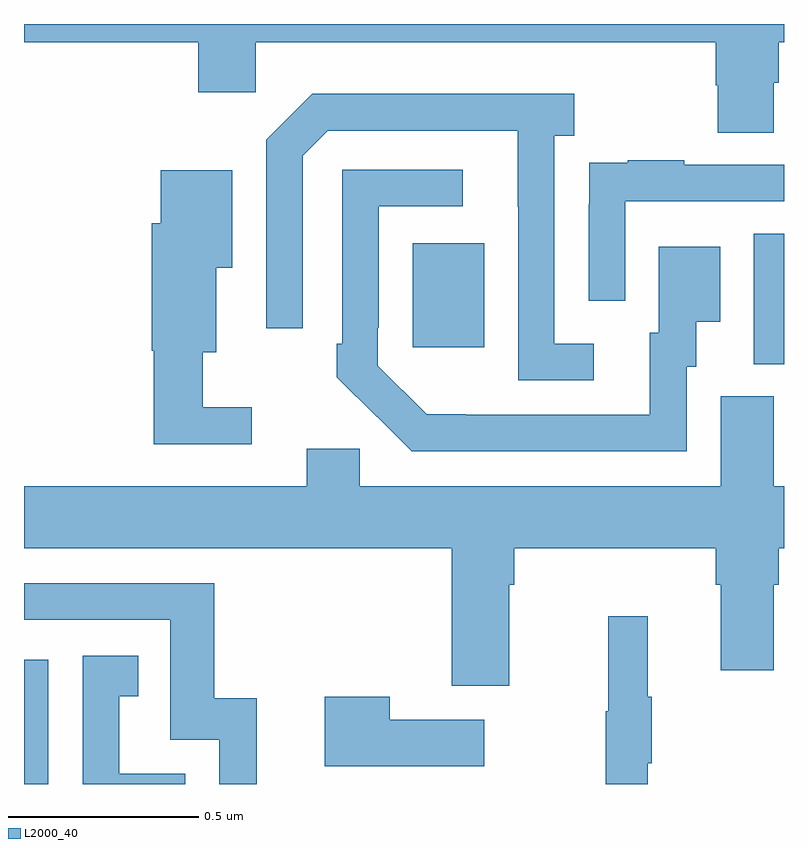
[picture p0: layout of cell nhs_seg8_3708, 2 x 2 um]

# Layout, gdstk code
import gdstk
lib = gdstk.Library(unit=1e-6, precision=1e-09)
def R(c, l, rs):  # rectangles x0, y0, x1, y1
    for r in rs: c.add(gdstk.rectangle(r[:2], r[2:], *l))
def P(c, l, *ps):  # polygons
    for p in ps: c.add(gdstk.Polygon(p, *l))
L2000_40 = (2000, 40)

nhs_seg8_3708 = lib.new_cell('nhs_seg8_3708')
R(nhs_seg8_3708, L2000_40, [(161,1095.9,161.064,1096.227), (162.92,1097.005,163,1097.348), (162.023,1097.049,162.211,1097.323)])
P(nhs_seg8_3708, L2000_40, [(162.973,1097.746),(162.986,1097.746),(162.986,1097.852),(163,1097.852),(163,1097.9),(161,1097.9),(161,1097.852),(161.459,1097.852),(161.459,1097.721),(161.61,1097.721),(161.61,1097.852),(162.821,1097.852),(162.821,1097.739),(162.826,1097.739),(162.826,1097.614),(162.973,1097.614)],
  [(162.499,1097.058),(162.396,1097.058),(162.396,1097.606),(162.448,1097.606),(162.448,1097.716),(161.758,1097.716),(161.637,1097.595),(161.637,1097.1),(161.733,1097.1),(161.733,1097.553),(161.799,1097.619),(162.299,1097.619),(162.299,1097.419),(162.3,1097.419),(162.3,1096.962),(162.499,1096.962)],
  [(162.582,1097.433),(163,1097.433),(163,1097.529),(162.737,1097.529),(162.737,1097.542),(162.589,1097.542),(162.589,1097.535),(162.487,1097.535),(162.487,1097.426),(162.486,1097.426),(162.486,1097.172),(162.582,1097.172)],
  [(162.744,1096.998),(162.769,1096.998),(162.769,1097.117),(162.832,1097.117),(162.832,1097.314),(162.671,1097.314),(162.671,1097.088),(162.647,1097.088),(162.647,1096.872),(162.163,1096.872),(162.163,1096.873),(162.06,1096.873),(161.931,1097.001),(161.931,1097.101),(161.934,1097.101),(161.934,1097.421),(162.154,1097.421),(162.154,1097.517),(161.838,1097.517),(161.838,1097.059),(161.823,1097.059),(161.823,1096.971),(161.928,1096.866),(161.929,1096.867),(162.02,1096.776),(162.744,1096.776)],
  [(161.599,1096.891),(161.47,1096.891),(161.47,1097.036),(161.506,1097.036),(161.506,1097.258),(161.548,1097.258),(161.548,1097.515),(161.36,1097.515),(161.36,1097.376),(161.336,1097.376),(161.336,1097.04),(161.341,1097.04),(161.341,1096.794),(161.599,1096.794)],
  [(162.277,1096.424),(162.29,1096.424),(162.29,1096.52),(162.821,1096.52),(162.821,1096.424),(162.833,1096.424),(162.833,1096.2),(162.973,1096.2),(162.973,1096.424),(162.986,1096.424),(162.986,1096.52),(163,1096.52),(163,1096.684),(162.973,1096.684),(162.973,1096.92),(162.833,1096.92),(162.833,1096.684),(161.883,1096.684),(161.883,1096.782),(161.744,1096.782),(161.744,1096.684),(161,1096.684),(161,1096.52),(162.125,1096.52),(162.125,1096.158),(162.277,1096.158)],
  [(161.612,1096.126),(161.501,1096.126),(161.501,1096.428),(161,1096.428),(161,1096.332),(161.385,1096.332),(161.385,1096.017),(161.514,1096.017),(161.514,1095.9),(161.612,1095.9)],
  [(162.641,1095.955),(162.652,1095.955),(162.652,1096.129),(162.641,1096.129),(162.641,1096.342),(162.538,1096.342),(162.538,1096.092),(162.531,1096.092),(162.531,1095.9),(162.641,1095.9)],
  [(161.424,1095.927),(161.251,1095.927),(161.251,1096.131),(161.3,1096.131),(161.3,1096.237),(161.154,1096.237),(161.154,1095.9),(161.424,1095.9)],
  [(162.211,1096.069),(161.963,1096.069),(161.963,1096.129),(161.792,1096.129),(161.792,1095.947),(162.211,1095.947)])

lib.write_gds('nhs_seg8_3708.gds')
